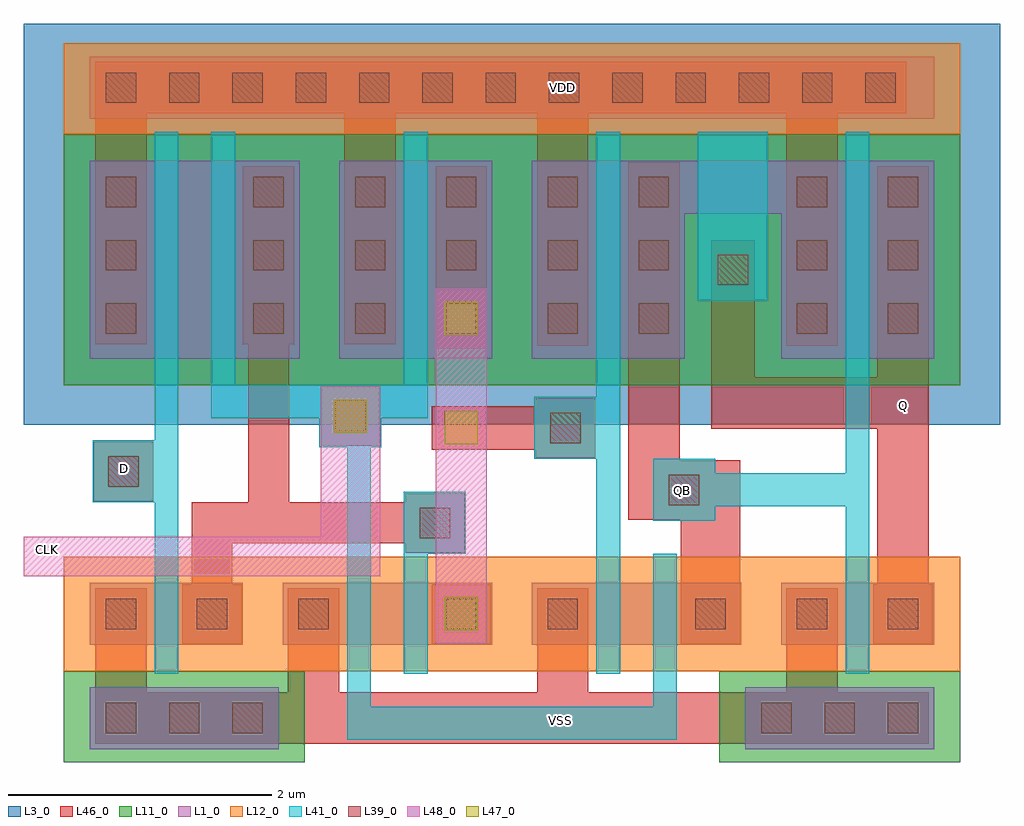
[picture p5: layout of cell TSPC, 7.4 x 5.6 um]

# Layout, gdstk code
import gdstk
lib = gdstk.Library(unit=1e-6, precision=1e-09)
def R(c, l, rs):  # rectangles x0, y0, x1, y1
    for r in rs: c.add(gdstk.rectangle(r[:2], r[2:], *l))
def A(c, l, x, y, w, h, nx, ny, dx, dy):  # array of equal rectangles
    R(c, l, [(x+i*dx, y+j*dy, x+i*dx+w, y+j*dy+h) for i in range(nx) for j in range(ny)])
L1_0 = (1, 0)
L3_0 = (3, 0)
L11_0 = (11, 0)
L12_0 = (12, 0)
L39_0 = (39, 0)
L41_0 = (41, 0)
L46_0 = (46, 0)
L47_0 = (47, 0)
L48_0 = (48, 0)

tspc = lib.new_cell('TSPC')
R(tspc, L1_0, [(-0.76,-2.77,0.67,-2.3), (4.21,-2.77,5.64,-2.3), (-0.76,-1.98,0.4,-1.51), (0.7,-1.98,2.29,-1.51), (2.59,-1.98,4.18,-1.51), (4.48,-1.98,5.64,-1.51), (-0.76,0.19,0.83,1.69), (1.13,0.19,2.29,1.69), (2.59,0.19,3.75,1.69), (4.48,0.19,5.64,1.69), (3.75,1.29,4.48,1.69), (-0.76,2.01,5.64,2.48)])
R(tspc, L3_0, [(-1.26,-0.31,6.14,2.73)])
R(tspc, L11_0, [(-0.96,-2.87,0.87,-2.18), (4.01,-2.87,5.84,-2.18), (-0.96,-0.01,1.03,1.89), (1.03,-0.01,2.49,1.89), (2.49,-0.01,5.84,1.89)])
R(tspc, L12_0, [(-0.96,-2.18,0.6,-1.31), (0.6,-2.18,2.49,-1.31), (2.49,-2.18,4.38,-1.31), (4.38,-2.18,5.84,-1.31), (-0.96,1.89,5.84,2.58)])
A(tspc, L39_0, -0.64, -2.65, 0.23, 0.23, 3, 1, 0.48, 0)
A(tspc, L39_0, 4.33, -2.65, 0.23, 0.23, 3, 1, 0.48, 0)
A(tspc, L39_0, -0.64, 0.38, 0.23, 0.23, 1, 3, 0, 0.48)
A(tspc, L39_0, 0.48, 0.38, 0.23, 0.23, 1, 3, 0, 0.48)
A(tspc, L39_0, 1.25, 0.38, 0.23, 0.23, 1, 3, 0, 0.48)
A(tspc, L39_0, 1.94, 0.38, 0.23, 0.23, 1, 3, 0, 0.48)
A(tspc, L39_0, 2.71, 0.38, 0.23, 0.23, 1, 3, 0, 0.48)
A(tspc, L39_0, 3.4, 0.38, 0.23, 0.23, 1, 3, 0, 0.48)
A(tspc, L39_0, 4.6, 0.38, 0.23, 0.23, 1, 3, 0, 0.48)
A(tspc, L39_0, 5.29, 0.38, 0.23, 0.23, 1, 3, 0, 0.48)
A(tspc, L39_0, -0.64, 2.13, 0.23, 0.23, 13, 1, 0.48, 0)
R(tspc, L39_0, [(-0.64,-1.86,-0.41,-1.63), (0.05,-1.86,0.28,-1.63), (0.82,-1.86,1.05,-1.63), (1.94,-1.86,2.17,-1.63), (2.71,-1.86,2.94,-1.63), (3.83,-1.86,4.06,-1.63), (4.6,-1.86,4.83,-1.63), (5.29,-1.86,5.52,-1.63), (1.74,-1.17,1.97,-0.94), (3.63,-0.92,3.86,-0.69), (-0.62,-0.78,-0.39,-0.55), (2.73,-0.45,2.96,-0.22), (1.1,-0.36,1.33,-0.13), (4,0.75,4.23,0.98)])
R(tspc, L41_0, [(1.19,-2.7,3.69,-2.45), (1.19,-2.7,1.37,-0.01), (3.51,-2.7,3.69,-1.29), (-0.27,-2.2,-0.09,1.91), (1.62,-2.2,1.8,-1.29), (3.08,-2.2,3.26,1.91), (4.97,-2.2,5.15,1.91), (1.62,-1.29,2.09,-0.82), (3.51,-1.04,3.98,-0.57), (3.98,-0.93,5.15,-0.68), (-0.74,-0.9,-0.27,-0.43), (2.61,-0.57,3.08,-0.1), (0.98,-0.48,1.45,-0.01), (0.16,-0.26,0.34,1.91), (0.16,-0.26,1.8,-0.01), (1.62,-0.26,1.8,1.91), (3.85,0.63,4.38,1.91)])
A(tspc, L46_0, 0.74, -2.73, 0.39, 1.18, 3, 1, 1.89, 0)
R(tspc, L46_0, [(-0.72,-2.73,-0.33,-1.55), (-0.72,-2.73,5.6,-2.34), (-0.06,-1.97,0.39,-1.52), (1.83,-1.97,2.28,-1.52), (3.72,-1.97,4.17,-0.58), (5.18,-1.97,5.63,-1.52), (5.21,-1.97,5.6,1.65), (0.01,-1.52,0.32,-0.9), (1.63,-1.28,2.08,-0.83), (0.01,-1.21,2.08,-0.9), (0.44,-1.21,0.75,0.3), (3.32,-1.03,3.71,1.68), (3.52,-1.03,3.97,-0.58), (-0.73,-0.89,-0.28,-0.44), (2.62,-0.56,3.07,-0.11), (1.83,-0.5,3.07,-0.17), (0.99,-0.47,1.44,-0.02), (3.95,-0.34,5.6,0.05), (3.95,-0.34,4.28,1.09), (1.86,0.27,2.25,1.65), (2.63,0.29,3.02,2.44), (4.52,0.29,4.91,2.44), (-0.72,0.3,-0.33,2.44), (0.4,0.3,0.79,1.65), (1.17,0.3,1.56,2.44), (-0.72,2.05,5.43,2.44)])
R(tspc, L47_0, [(1.93,-1.87,2.18,-1.62), (1.93,-0.46,2.18,-0.21), (1.09,-0.37,1.34,-0.12), (1.93,0.37,2.18,0.62)])
R(tspc, L48_0, [(1.86,-1.97,2.25,0.72), (-1.26,-1.46,1.44,-1.16), (0.99,-1.46,1.44,-0.02)])
tspc.add(gdstk.Label('QB', (3.735,-0.81), layer=101, texttype=0))
tspc.add(gdstk.Label('Q', (5.41,-0.165), layer=101, texttype=0))
tspc.add(gdstk.Label('D', (-0.495,-0.645), layer=101, texttype=0))
tspc.add(gdstk.Label('VSS', (2.81,-2.555), layer=101, texttype=0))
tspc.add(gdstk.Label('VDD', (2.82,2.25), layer=101, texttype=0))
tspc.add(gdstk.Label('CLK', (-1.08,-1.255), layer=102, texttype=0))

lib.write_gds('TSPC.gds')
